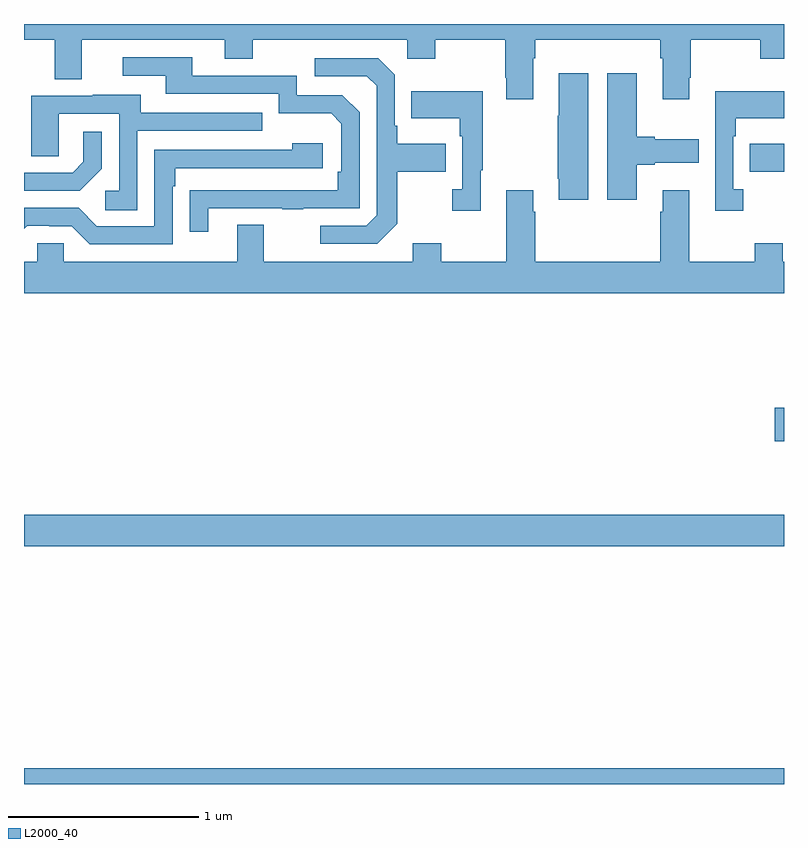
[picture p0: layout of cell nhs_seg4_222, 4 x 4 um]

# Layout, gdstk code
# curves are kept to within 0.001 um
import gdstk
lib = gdstk.Library(unit=1e-6, precision=1e-09)
def R(c, l, rs):  # rectangles x0, y0, x1, y1
    for r in rs: c.add(gdstk.rectangle(r[:2], r[2:], *l))
def P(c, l, *ps):  # polygons
    for p in ps: c.add(gdstk.Polygon(p, *l))
L2000_40 = (2000, 40)

nhs_seg4_222 = lib.new_cell('nhs_seg4_222')
R(nhs_seg4_222, L2000_40, [(121,796.9,125,796.984), (121,798.152,125,798.316), (124.95,798.703,125,798.881), (124.819,800.122,125,800.269)])
P(nhs_seg4_222, L2000_40, [(123.679,800.72),(123.692,800.72),(123.692,800.816),(124.349,800.816),(124.349,800.72),(124.361,800.72),(124.361,800.505),(124.501,800.505),(124.501,800.617),(124.509,800.617),(124.509,800.816),(124.876,800.816),(124.876,800.717),(125,800.717),(125,800.9),(121,800.9),(121,800.816),(121.163,800.816),(121.163,800.608),(121.303,800.608),(121.303,800.816),(122.057,800.816),(122.057,800.717),(122.205,800.717),(122.205,800.816),(123.018,800.816),(123.018,800.717),(123.165,800.717),(123.165,800.816),(123.532,800.816),(123.532,800.617),(123.539,800.617),(123.539,800.505),(123.679,800.505)],
  [(121.969,799.929),(122.359,799.929),(122.359,799.924),(122.471,799.924),(122.471,799.929),(122.766,799.929),(122.766,800.436),(122.676,800.526),(122.436,800.526),(122.436,800.628),(121.885,800.628),(121.885,800.724),(121.521,800.724),(121.521,800.628),(121.745,800.628),(121.745,800.532),(122.34,800.532),(122.34,800.429),(122.617,800.429),(122.67,800.376),(122.67,800.122),(122.65,800.122),(122.65,800.025),(121.873,800.024),(121.873,799.806),(121.969,799.806)],
  [(122.965,799.849),(122.965,800.122),(123.221,800.122),(123.221,800.269),(122.965,800.269),(122.965,800.365),(122.952,800.365),(122.952,800.634),(122.865,800.721),(122.529,800.721),(122.529,800.625),(122.805,800.625),(122.856,800.574),(122.856,799.893),(122.802,799.839),(122.559,799.839),(122.559,799.743),(122.859,799.743)],
  [(124.225,800.159),(124.321,800.159),(124.321,800.171),(124.552,800.171),(124.552,800.293),(124.321,800.293),(124.321,800.306),(124.225,800.306),(124.225,800.641),(124.07,800.641),(124.07,799.974),(124.225,799.974)],
  [(123.97,800.641),(123.815,800.641),(123.815,800.417),(123.808,800.417),(123.808,800.086),(123.815,800.086),(123.815,799.974),(123.97,799.974)],
  [(124.786,800.03),(124.734,800.03),(124.734,800.309),(124.747,800.309),(124.747,800.405),(125,800.405),(125,800.545),(124.638,800.545),(124.638,799.917),(124.786,799.917)],
  [(123.403,800.129),(123.415,800.129),(123.415,800.545),(123.037,800.545),(123.037,800.405),(123.294,800.405),(123.294,800.309),(123.306,800.309),(123.306,800.03),(123.255,800.03),(123.255,799.917),(123.403,799.917)],
  [(121.596,800.337),(122.255,800.337),(122.255,800.433),(121.615,800.433),(121.615,800.527),(121.361,800.527),(121.361,800.523),(121.037,800.523),(121.037,800.203),(121.182,800.203),(121.182,800.427),(121.5,800.427),(121.5,800.022),(121.428,800.022),(121.428,799.921),(121.596,799.921)],
  [(121.41,800.138),(121.41,800.332),(121.313,800.332),(121.313,800.175),(121.256,800.118),(121,800.118),(121,800.022),(121.294,800.022)],
  [(121.782,800.045),(121.795,800.045),(121.795,800.142),(122.572,800.142),(122.572,800.272),(122.411,800.272),(122.411,800.238),(121.686,800.238),(121.686,799.836),(121.383,799.836),(121.287,799.932),(121,799.932),(121,799.822),(121.017,799.839),(121.133,799.839),(121.133,799.836),(121.251,799.836),(121.347,799.74),(121.782,799.74)],
  [(125,799.648),(124.993,799.648),(124.993,799.747),(124.846,799.747),(124.846,799.648),(124.501,799.648),(124.501,800.026),(124.361,800.026),(124.361,799.913),(124.349,799.913),(124.349,799.648),(123.692,799.648),(123.692,799.913),(123.679,799.913),(123.679,800.026),(123.539,800.026),(123.539,799.648),(123.195,799.648),(123.195,799.747),(123.047,799.747),(123.047,799.648),(122.263,799.648),(122.263,799.843),(122.123,799.843),(122.123,799.648),(121.209,799.648),(121.209,799.746),(121.071,799.746),(121.071,799.648),(121,799.648),(121,799.484),(125,799.484)])

lib.write_gds('nhs_seg4_222.gds')
